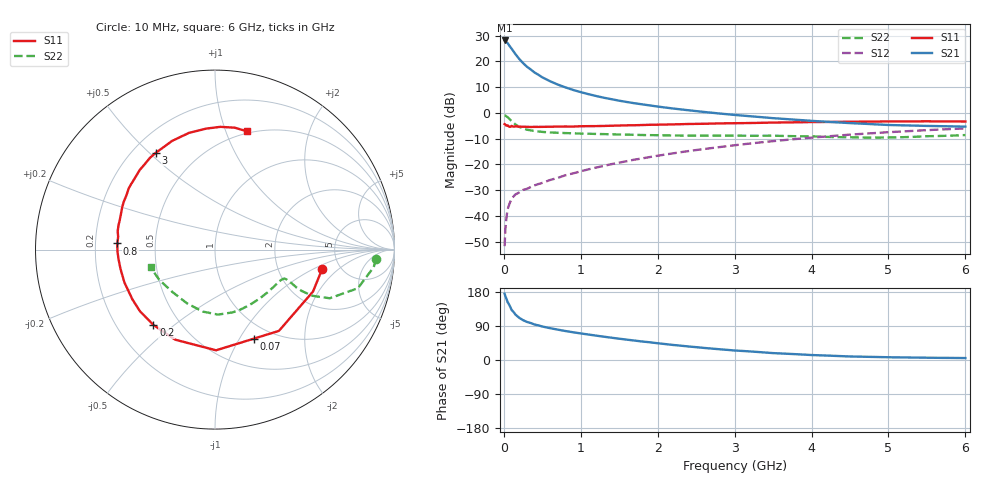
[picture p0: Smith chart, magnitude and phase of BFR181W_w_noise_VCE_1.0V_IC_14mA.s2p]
! Infineon Technologies  Discrete & RF Semiconductors
! BFR181W
! VCE =  1.0 V,  IC =  14 mA
! Common Emitter S-Parameters:  Jan 2017
# GHz  S  MA  R  50
!  f  S11  S21  S12  S22
! GHz  MAG  ANG  MAG  ANG  MAG  ANG  MAG  ANG
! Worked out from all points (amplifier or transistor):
!   77 points, 10 MHz to 6 GHz, reference 50 ohm
!   highest |S21| = 28.1 dB at 10 MHz (marker M1)
!   |S21| within 3 dB of that: start of sweep to 95.89 MHz
!   unconditionally stable (mu >= 1): 327.9 MHz to end of sweep
!   at 130 MHz: K = 0.54, MSG = 28.0 dB, |S12| = -32.3 dB
!   at 2.2 GHz: K = 1.28, MAG = 5.5 dB, |S12| = -15.7 dB
!   at 6 GHz: K = 1.13, MAG = -1.9 dB, |S12| = -6.0 dB
!   lowest NFmin = 1.43 dB at 450 MHz
!   S11 on the Smith chart (normalised r, x): 10 MHz: 3.63, -1.25; 70 MHz: 0.82, -1.15; 200 MHz: 0.36, -0.42; 800 MHz: 0.29, +0.03; 3 GHz: 0.29, +0.53; 6 GHz: 0.48, +1.19
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0.01  0.6069 -10.3  25.5 174.9  0.0026 81.9  0.8995 -3.2
0.02  0.5939 -23.2  24.99 168.2  0.0055 82.3  0.8897 -6.3
0.05  0.5762 -51.8  22.64 152.4  0.0136 69.2  0.8249 -15.1
0.07  0.5412 -66.5  20.4 145.6  0.0167 63.1  0.771 -17.9
0.1  0.5611 -89.4  17.74 132.4  0.0216 57.4  0.6944 -23.0
0.15  0.5488 -113.9  13.89 120.0  0.0262 51.1  0.5981 -25.4
0.2  0.5423 -129.2  11.17 111.3  0.0287 50.5  0.5372 -25.5
0.25  0.5409 -140.7  9.279 105.1  0.0321 49.5  0.4995 -24.9
0.3  0.5373 -148.9  7.892 100.5  0.0337 50.1  0.4736 -24.0
0.4  0.5369 -160.0  6.078 93.6  0.0394 53.6  0.445 -23.0
0.5  0.5373 -168.3  4.913 88.4  0.044 57.1  0.4287 -22.6
0.6  0.54 -174.3  4.131 84.0  0.0499 59.8  0.4188 -22.7
0.7  0.5437 -179.2  3.558 80.2  0.0549 62.1  0.412 -23.3
0.8  0.5456 176.4  3.136 76.5  0.0618 64.9  0.407 -24.3
1.1  0.5544 165.8  2.314 67.2  0.0805 68.0  0.3953 -28.3
1.5  0.57 154.6  1.729 56.2  0.1086 70.2  0.3815 -35.6
2.1  0.5957 139.8  1.274 42.0  0.1561 69.7  0.367 -50.0
3  0.6323 121.3  0.915 25.1  0.236 64.7  0.3632 -74.4
3.1  0.6345 119.3  0.889 23.9  0.2454 63.7  0.3616 -77.0
4.1  0.667 100.9  0.688 12.4  0.3411 54.0  0.347 -104.2
5.1  0.6845 86.2  0.579 7.0  0.431 42.3  0.3363 -138.7
6  0.6823 74.7  0.543 5.1  0.5016 31.5  0.3723 -164.8
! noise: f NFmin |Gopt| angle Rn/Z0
0.45  1.43  0.06  16  0.21
0.9  1.48  0.06  32  0.21
1.9  1.92  0.11  -141  0.21
2.4  2.13  0.14  -109  0.27
